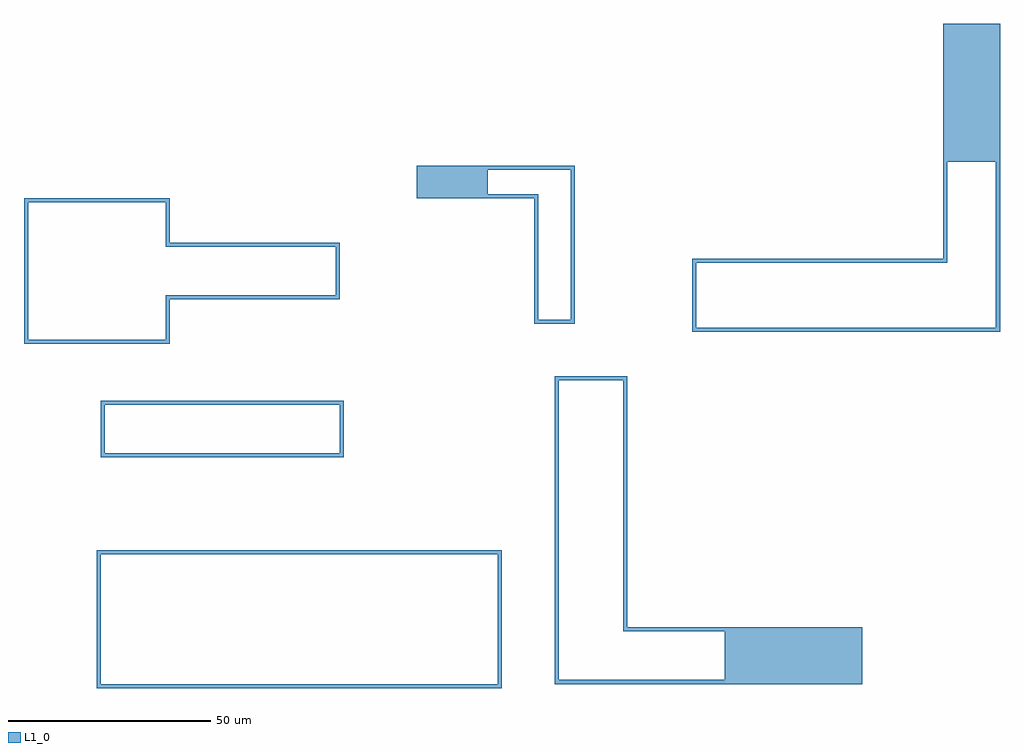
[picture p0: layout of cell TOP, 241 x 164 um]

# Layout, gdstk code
from math import pi, radians
import gdstk
lib = gdstk.Library(unit=1e-6, precision=1e-09)
def R(c, l, rs):  # rectangles x0, y0, x1, y1
    for r in rs: c.add(gdstk.rectangle(r[:2], r[2:], *l))
def P(c, l, *ps):  # polygons
    for p in ps: c.add(gdstk.Polygon(p, *l))
L1_0 = (1, 0)

c_a = lib.new_cell('A')

c_b = lib.new_cell('B')
R(c_b, L1_0, [(11,-18,21,-17), (11,-17,12,13), (20,-17,21,13), (20,13,21,21), (-18,20,20,21)])
P(c_b, L1_0, [(-18,13),(-18,20),(-0.5,20),(-0.5,14),(12,14),(12,13)])

b_var1 = lib.new_cell('B$VAR1')
R(b_var1, L1_0, [(11.5,-17.5,20.5,-17), (11.5,-17,12,13.5), (20,-17,20.5,13.5), (20,13.5,20.5,20.5), (-17.5,20,20,20.5)])
P(b_var1, L1_0, [(-17.5,13.5),(-17.5,20),(-0.5,20),(-0.5,14),(12,14),(12,13.5)])

c_c = lib.new_cell('C')
c_c.add(gdstk.Reference(b_var1, (14,28), rotation=pi))

top = lib.new_cell('TOP')
R(top, L1_0, [(6,-101,7,-68), (7,-101,106,-100), (105,-100,106,-68), (6,-68,106,-67), (7,-44,8,-31), (8,-44,66,-43), (66,-44,67,-30), (7,-31,8,-30), (8,-31,66,-30), (-12,-16,-11,19), (-11,-16,24,-15), (23,-15,24,-4), (24,-5,66,-4), (65,-4,66,9), (23,8,24,19), (24,8,65,9), (-12,19,24,20)])
top.add(gdstk.Reference(c_a, (7,8)))
top.add(gdstk.Reference(c_a, (8,-31)))
r = gdstk.Reference(c_a, (7,-88)); r.repetition = gdstk.Repetition(2, 5, v1=(40,0), v2=(0,5)); top.add(r)
top.add(gdstk.Reference(c_b, (103,7)))
top.add(gdstk.Reference(c_c, (244,0), rotation=pi/2, magnification=2))
top.add(gdstk.Reference(b_var1, (160,-59), rotation=pi, magnification=2))

lib.write_gds('TOP.gds')
